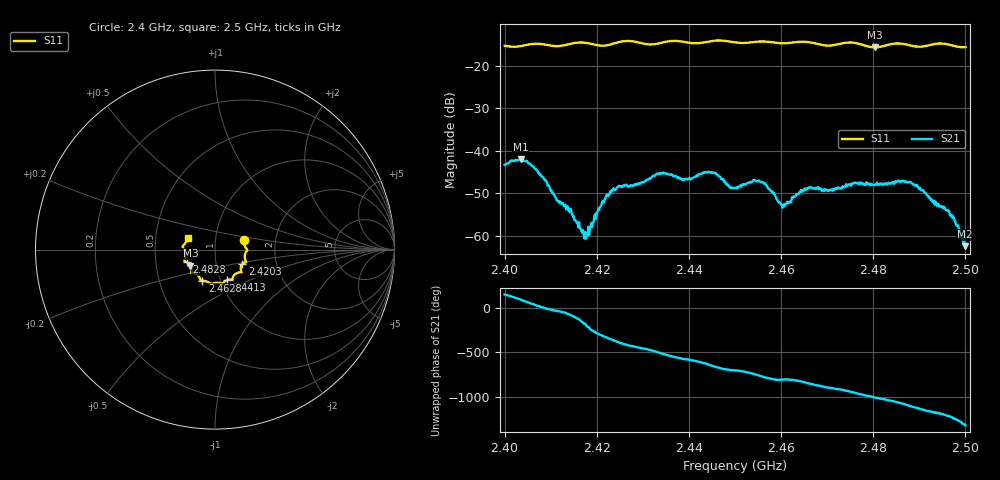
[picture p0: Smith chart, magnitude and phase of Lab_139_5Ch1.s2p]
# Hz S RI R 50
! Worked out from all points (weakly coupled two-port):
!   601 points, 2.4 GHz to 2.5 GHz, reference 50 ohm
!   highest |S21| = -42.05 dB at 2.4035 GHz (marker M1); lowest = -62.4 dB at 2.4998 GHz (marker M2)
!   lowest |S11| = -15.7 dB at 2.4803 GHz (marker M3), VSWR 1.39, Z = 37.4 - j6.83 ohm
!   |S11| at or under -10 dB: start of sweep to end of sweep
!   S12 and S22 are empty: the file has one direction only
!   S11 on the Smith chart (normalised r, x): 2.4 GHz: 1.38, +0.15; 2.4203 GHz: 1.34, -0.22; 2.4413 GHz: 1.08, -0.38; 2.4628 GHz: 0.82, -0.29; 2.4828 GHz: 0.72, -0.10; 2.5 GHz: 0.73, +0.10
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2.4e9  0.1628 0.0526  -0.00614 0.00297  0 0  0 0
2.4035e9  0.1689 0.0138  -0.000888 0.00785  0 0  0 0
2.406667e9  0.1802 -0.000386  0.00492 0.00358  0 0  0 0
2.416667e9  0.1736 -0.0697  -0.000978 -0.000581  0 0  0 0
2.417833e9  0.1702 -0.071  -0.000982 0.000379  0 0  0 0
2.420333e9  0.1531 -0.08  0.000656 0.00198  0 0  0 0
2.4235e9  0.1432 -0.1099  0.00341 -0.000114  0 0  0 0
2.433333e9  0.1005 -0.1514  -0.00401 -0.00348  0 0  0 0
2.441333e9  0.0675 -0.1697  -0.00269 0.0041  0 0  0 0
2.4455e9  0.0425 -0.1914  0.00268 0.00482  0 0  0 0
2.45e9  0.0247 -0.1856  0.00349 0.00103  0 0  0 0
2.455667e9  -0.0195 -0.191  0.00269 -0.0033  0 0  0 0
2.4605e9  -0.051 -0.1758  0.000169 -0.00232  0 0  0 0
2.462833e9  -0.0713 -0.1735  -0.000221 -0.00286  0 0  0 0
2.466667e9  -0.0815 -0.1672  -0.00273 -0.00244  0 0  0 0
2.480333e9  -0.1371 -0.0889  0.00143 0.00371  0 0  0 0
2.482833e9  -0.1583 -0.07  0.00296 0.00286  0 0  0 0
2.483333e9  -0.1623 -0.0684  0.00327 0.00264  0 0  0 0
2.490667e9  -0.1669 -0.0137  0.00143 -0.00314  0 0  0 0
2.496833e9  -0.1722 0.0277  -0.00152 -0.000867  0 0  0 0
2.499833e9  -0.1529 0.0615  -0.00035 0.000669  0 0  0 0
2.5e9  -0.1522 0.0639  -0.000307 0.000715  0 0  0 0
